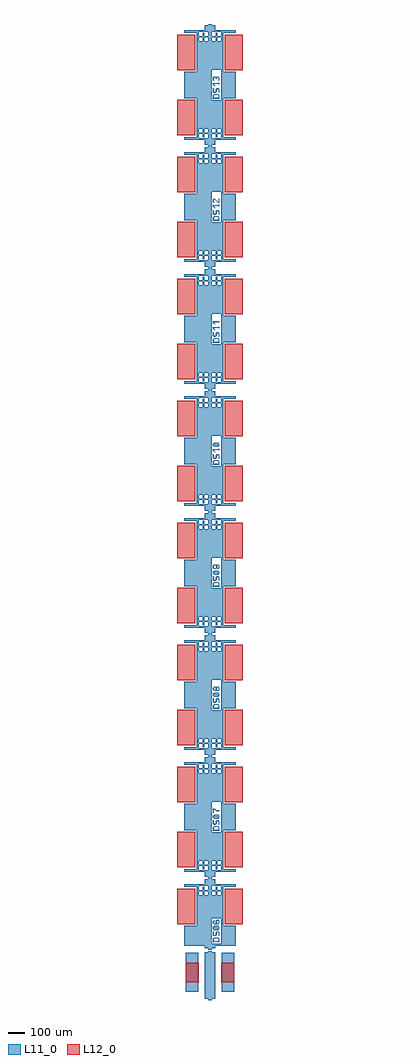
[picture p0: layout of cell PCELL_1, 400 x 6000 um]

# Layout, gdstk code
import gdstk
lib = gdstk.Library(unit=1e-6, precision=5e-09)
def R(c, l, rs):  # rectangles x0, y0, x1, y1
    for r in rs: c.add(gdstk.rectangle(r[:2], r[2:], *l))
def A(c, l, x, y, w, h, nx, ny, dx, dy):  # array of equal rectangles
    R(c, l, [(x+i*dx, y+j*dy, x+i*dx+w, y+j*dy+h) for i in range(nx) for j in range(ny)])
def P(c, l, *ps):  # polygons
    for p in ps: c.add(gdstk.Polygon(p, *l))
L11_0 = (11, 0)
L12_0 = (12, 0)

hyd_2_lpc_14 = lib.new_cell('HYD_2_LPC_14')
A(hyd_2_lpc_14, L11_0, 14419.635, -18083.2, 36.365, 4.4, 1, 7, 0, 750)
R(hyd_2_lpc_14, L11_0, [(14252,-19075,14328,-18835), (14252,-19075,14328,-18835), (14472,-19075,14548,-18835), (14472,-19075,14548,-18835), (14419.635,-18767.2,14456,-18762.8), (14453.8,-17965.725,14458.2,-17958.455), (14453.8,-15744.455,14458.2,-15737.18), (14453.8,-14994.455,14458.2,-14987.18), (14453.8,-14958.455,14458.2,-14951.18), (14453.8,-14244.455,14458.2,-14237.18), (14453.8,-13494.455,14458.2,-13487.18)])
P(hyd_2_lpc_14, L11_0, [(14388.25,-18815),(14388.25,-18807.5),(14367.5,-18807.5),(14367.5,-18792.5),(14242.5,-18792.5),(14242.5,-18670),(14320,-18670),(14320,-18430),(14242.5,-18430),(14242.5,-18412.5),(14331,-18412.5),(14331,-18482),(14389,-18482),(14389,-18424),(14331,-18424),(14331,-18412.5),(14367.5,-18412.5),(14367.5,-18382.5),(14388.25,-18382.5),(14388.25,-18367.5),(14367.5,-18367.5),(14367.5,-18337.5),(14242.5,-18337.5),(14242.5,-18320),(14320,-18320),(14320,-18080),(14242.5,-18080),(14242.5,-17920),(14320,-17920),(14320,-17680),(14242.5,-17680),(14242.5,-17662.5),(14331,-17662.5),(14331,-18326),(14389,-18326),(14389,-18268),(14331,-18268),(14331,-17732),(14389,-17732),(14389,-17674),(14331,-17674),(14331,-17662.5),(14367.5,-17662.5),(14367.5,-17632.5),(14388.25,-17632.5),(14388.25,-17617.5),(14367.5,-17617.5),(14367.5,-17587.5),(14242.5,-17587.5),(14242.5,-17570),(14320,-17570),(14320,-17330),(14242.5,-17330),(14242.5,-17170),(14320,-17170),(14320,-16930),(14242.5,-16930),(14242.5,-16912.5),(14331,-16912.5),(14331,-17576),(14389,-17576),(14389,-17518),(14331,-17518),(14331,-16982),(14389,-16982),(14389,-16924),(14331,-16924),(14331,-16912.5),(14367.5,-16912.5),(14367.5,-16882.5),(14388.25,-16882.5),(14388.25,-16867.5),(14367.5,-16867.5),(14367.5,-16837.5),(14242.5,-16837.5),(14242.5,-16820),(14320,-16820),(14320,-16580),(14242.5,-16580),(14242.5,-16420),(14320,-16420),(14320,-16180),(14242.5,-16180),(14242.5,-16162.5),(14331,-16162.5),(14331,-16826),(14389,-16826),(14389,-16768),(14331,-16768),(14331,-16232),(14389,-16232),(14389,-16174),(14331,-16174),(14331,-16162.5),(14367.5,-16162.5),(14367.5,-16132.5),(14388.25,-16132.5),(14388.25,-16117.5),(14367.5,-16117.5),(14367.5,-16087.5),(14242.5,-16087.5),(14242.5,-16070),(14320,-16070),(14320,-15830),(14242.5,-15830),(14242.5,-15670),(14320,-15670),(14320,-15430),(14242.5,-15430),(14242.5,-15412.5),(14331,-15412.5),(14331,-16076),(14389,-16076),(14389,-16018),(14331,-16018),(14331,-15482),(14389,-15482),(14389,-15424),(14331,-15424),(14331,-15412.5),(14367.5,-15412.5),(14367.5,-15382.5),(14388.25,-15382.5),(14388.25,-15367.5),(14367.5,-15367.5),(14367.5,-15337.5),(14242.5,-15337.5),(14242.5,-15320),(14320,-15320),(14320,-15080),(14242.5,-15080),(14242.5,-14920),(14320,-14920),(14320,-14680),(14242.5,-14680),(14242.5,-14662.5),(14331,-14662.5),(14331,-15326),(14389,-15326),(14389,-15268),(14331,-15268),(14331,-14732),(14389,-14732),(14389,-14674),(14331,-14674),(14331,-14662.5),(14367.5,-14662.5),(14367.5,-14632.5),(14388.25,-14632.5),(14388.25,-14617.5),(14367.5,-14617.5),(14367.5,-14587.5),(14242.5,-14587.5),(14242.5,-14570),(14320,-14570),(14320,-14330),(14242.5,-14330),(14242.5,-14170),(14320,-14170),(14320,-13930),(14242.5,-13930),(14242.5,-13912.5),(14331,-13912.5),(14331,-14576),(14389,-14576),(14389,-14518),(14331,-14518),(14331,-13982),(14389,-13982),(14389,-13924),(14331,-13924),(14331,-13912.5),(14367.5,-13912.5),(14367.5,-13882.5),(14388.25,-13882.5),(14388.25,-13867.5),(14367.5,-13867.5),(14367.5,-13837.5),(14242.5,-13837.5),(14242.5,-13820),(14320,-13820),(14320,-13580),(14242.5,-13580),(14242.5,-13420),(14320,-13420),(14320,-13180),(14242.5,-13180),(14242.5,-13162.5),(14331,-13162.5),(14331,-13826),(14389,-13826),(14389,-13768),(14331,-13768),(14331,-13232),(14389,-13232),(14389,-13174),(14331,-13174),(14331,-13162.5),(14367.5,-13162.5),(14367.5,-13132.5),(14388.25,-13132.5),(14388.25,-13125),(14411,-13125),(14411,-18779),(14469,-18779),(14469,-18623),(14411,-18623),(14411,-18482),(14469,-18482),(14469,-18424),(14411,-18424),(14411,-18326),(14469,-18326),(14469,-18268),(14411,-18268),(14411,-18095),(14469,-18095),(14469,-17905),(14411,-17905),(14411,-17732),(14469,-17732),(14469,-17674),(14411,-17674),(14411,-17576),(14469,-17576),(14469,-17518),(14411,-17518),(14411,-17345),(14469,-17345),(14469,-17155),(14411,-17155),(14411,-16982),(14469,-16982),(14469,-16924),(14411,-16924),(14411,-16826),(14469,-16826),(14469,-16768),(14411,-16768),(14411,-16595),(14469,-16595),(14469,-16405),(14411,-16405),(14411,-16232),(14469,-16232),(14469,-16174),(14411,-16174),(14411,-16076),(14469,-16076),(14469,-16018),(14411,-16018),(14411,-15845),(14469,-15845),(14469,-15655),(14411,-15655),(14411,-15482),(14469,-15482),(14469,-15424),(14411,-15424),(14411,-15326),(14469,-15326),(14469,-15268),(14411,-15268),(14411,-15095),(14469,-15095),(14469,-14905),(14411,-14905),(14411,-14732),(14469,-14732),(14469,-14674),(14411,-14674),(14411,-14576),(14469,-14576),(14469,-14518),(14411,-14518),(14411,-14345),(14469,-14345),(14469,-14155),(14411,-14155),(14411,-13982),(14469,-13982),(14469,-13924),(14411,-13924),(14411,-13826),(14469,-13826),(14469,-13768),(14411,-13768),(14411,-13595),(14469,-13595),(14469,-13405),(14411,-13405),(14411,-13232),(14469,-13232),(14469,-13174),(14411,-13174),(14411,-13125),(14411.75,-13125),(14411.75,-13132.5),(14432.5,-13132.5),(14432.5,-13162.5),(14557.5,-13162.5),(14557.5,-13180),(14480,-13180),(14480,-13420),(14557.5,-13420),(14557.5,-13580),(14480,-13580),(14480,-13820),(14557.5,-13820),(14557.5,-13837.5),(14432.5,-13837.5),(14432.5,-13867.5),(14411.75,-13867.5),(14411.75,-13882.5),(14432.5,-13882.5),(14432.5,-13912.5),(14557.5,-13912.5),(14557.5,-13930),(14480,-13930),(14480,-14170),(14557.5,-14170),(14557.5,-14330),(14480,-14330),(14480,-14570),(14557.5,-14570),(14557.5,-14587.5),(14432.5,-14587.5),(14432.5,-14617.5),(14411.75,-14617.5),(14411.75,-14632.5),(14432.5,-14632.5),(14432.5,-14662.5),(14557.5,-14662.5),(14557.5,-14680),(14480,-14680),(14480,-14920),(14557.5,-14920),(14557.5,-15080),(14480,-15080),(14480,-15320),(14557.5,-15320),(14557.5,-15337.5),(14432.5,-15337.5),(14432.5,-15367.5),(14411.75,-15367.5),(14411.75,-15382.5),(14432.5,-15382.5),(14432.5,-15412.5),(14557.5,-15412.5),(14557.5,-15430),(14480,-15430),(14480,-15670),(14557.5,-15670),(14557.5,-15830),(14480,-15830),(14480,-16070),(14557.5,-16070),(14557.5,-16087.5),(14432.5,-16087.5),(14432.5,-16117.5),(14411.75,-16117.5),(14411.75,-16132.5),(14432.5,-16132.5),(14432.5,-16162.5),(14557.5,-16162.5),(14557.5,-16180),(14480,-16180),(14480,-16420),(14557.5,-16420),(14557.5,-16580),(14480,-16580),(14480,-16820),(14557.5,-16820),(14557.5,-16837.5),(14432.5,-16837.5),(14432.5,-16867.5),(14411.75,-16867.5),(14411.75,-16882.5),(14432.5,-16882.5),(14432.5,-16912.5),(14557.5,-16912.5),(14557.5,-16930),(14480,-16930),(14480,-17170),(14557.5,-17170),(14557.5,-17330),(14480,-17330),(14480,-17570),(14557.5,-17570),(14557.5,-17587.5),(14432.5,-17587.5),(14432.5,-17617.5),(14411.75,-17617.5),(14411.75,-17632.5),(14432.5,-17632.5),(14432.5,-17662.5),(14557.5,-17662.5),(14557.5,-17680),(14480,-17680),(14480,-17920),(14557.5,-17920),(14557.5,-18080),(14480,-18080),(14480,-18320),(14557.5,-18320),(14557.5,-18337.5),(14432.5,-18337.5),(14432.5,-18367.5),(14411.75,-18367.5),(14411.75,-18382.5),(14432.5,-18382.5),(14432.5,-18412.5),(14557.5,-18412.5),(14557.5,-18430),(14480,-18430),(14480,-18670),(14557.5,-18670),(14557.5,-18792.5),(14432.5,-18792.5),(14432.5,-18807.5),(14411.75,-18807.5),(14411.75,-18815)],
  [(14388.25,-18815),(14388.25,-18807.5),(14367.5,-18807.5),(14367.5,-18792.5),(14242.5,-18792.5),(14242.5,-18670),(14320,-18670),(14320,-18430),(14242.5,-18430),(14242.5,-18412.5),(14331,-18412.5),(14331,-18482),(14389,-18482),(14389,-18424),(14331,-18424),(14331,-18412.5),(14367.5,-18412.5),(14367.5,-18382.5),(14388.25,-18382.5),(14388.25,-18367.5),(14367.5,-18367.5),(14367.5,-18337.5),(14242.5,-18337.5),(14242.5,-18320),(14320,-18320),(14320,-18080),(14242.5,-18080),(14242.5,-17920),(14320,-17920),(14320,-17680),(14242.5,-17680),(14242.5,-17662.5),(14331,-17662.5),(14331,-18326),(14389,-18326),(14389,-18268),(14331,-18268),(14331,-17732),(14389,-17732),(14389,-17674),(14331,-17674),(14331,-17662.5),(14367.5,-17662.5),(14367.5,-17632.5),(14388.25,-17632.5),(14388.25,-17617.5),(14367.5,-17617.5),(14367.5,-17587.5),(14242.5,-17587.5),(14242.5,-17570),(14320,-17570),(14320,-17330),(14242.5,-17330),(14242.5,-17170),(14320,-17170),(14320,-16930),(14242.5,-16930),(14242.5,-16912.5),(14331,-16912.5),(14331,-17576),(14389,-17576),(14389,-17518),(14331,-17518),(14331,-16982),(14389,-16982),(14389,-16924),(14331,-16924),(14331,-16912.5),(14367.5,-16912.5),(14367.5,-16882.5),(14388.25,-16882.5),(14388.25,-16867.5),(14367.5,-16867.5),(14367.5,-16837.5),(14242.5,-16837.5),(14242.5,-16820),(14320,-16820),(14320,-16580),(14242.5,-16580),(14242.5,-16420),(14320,-16420),(14320,-16180),(14242.5,-16180),(14242.5,-16162.5),(14331,-16162.5),(14331,-16826),(14389,-16826),(14389,-16768),(14331,-16768),(14331,-16232),(14389,-16232),(14389,-16174),(14331,-16174),(14331,-16162.5),(14367.5,-16162.5),(14367.5,-16132.5),(14388.25,-16132.5),(14388.25,-16117.5),(14367.5,-16117.5),(14367.5,-16087.5),(14242.5,-16087.5),(14242.5,-16070),(14320,-16070),(14320,-15830),(14242.5,-15830),(14242.5,-15670),(14320,-15670),(14320,-15430),(14242.5,-15430),(14242.5,-15412.5),(14331,-15412.5),(14331,-16076),(14389,-16076),(14389,-16018),(14331,-16018),(14331,-15482),(14389,-15482),(14389,-15424),(14331,-15424),(14331,-15412.5),(14367.5,-15412.5),(14367.5,-15382.5),(14388.25,-15382.5),(14388.25,-15367.5),(14367.5,-15367.5),(14367.5,-15337.5),(14242.5,-15337.5),(14242.5,-15320),(14320,-15320),(14320,-15080),(14242.5,-15080),(14242.5,-14920),(14320,-14920),(14320,-14680),(14242.5,-14680),(14242.5,-14662.5),(14331,-14662.5),(14331,-15326),(14389,-15326),(14389,-15268),(14331,-15268),(14331,-14732),(14389,-14732),(14389,-14674),(14331,-14674),(14331,-14662.5),(14367.5,-14662.5),(14367.5,-14632.5),(14388.25,-14632.5),(14388.25,-14617.5),(14367.5,-14617.5),(14367.5,-14587.5),(14242.5,-14587.5),(14242.5,-14570),(14320,-14570),(14320,-14330),(14242.5,-14330),(14242.5,-14170),(14320,-14170),(14320,-13930),(14242.5,-13930),(14242.5,-13912.5),(14331,-13912.5),(14331,-14576),(14389,-14576),(14389,-14518),(14331,-14518),(14331,-13982),(14389,-13982),(14389,-13924),(14331,-13924),(14331,-13912.5),(14367.5,-13912.5),(14367.5,-13882.5),(14388.25,-13882.5),(14388.25,-13867.5),(14367.5,-13867.5),(14367.5,-13837.5),(14242.5,-13837.5),(14242.5,-13820),(14320,-13820),(14320,-13580),(14242.5,-13580),(14242.5,-13420),(14320,-13420),(14320,-13180),(14242.5,-13180),(14242.5,-13162.5),(14331,-13162.5),(14331,-13826),(14389,-13826),(14389,-13768),(14331,-13768),(14331,-13232),(14389,-13232),(14389,-13174),(14331,-13174),(14331,-13162.5),(14367.5,-13162.5),(14367.5,-13132.5),(14388.25,-13132.5),(14388.25,-13125),(14411,-13125),(14411,-18779),(14469,-18779),(14469,-18623),(14411,-18623),(14411,-18482),(14469,-18482),(14469,-18424),(14411,-18424),(14411,-18326),(14469,-18326),(14469,-18268),(14411,-18268),(14411,-18095),(14469,-18095),(14469,-17905),(14411,-17905),(14411,-17732),(14469,-17732),(14469,-17674),(14411,-17674),(14411,-17576),(14469,-17576),(14469,-17518),(14411,-17518),(14411,-17345),(14469,-17345),(14469,-17155),(14411,-17155),(14411,-16982),(14469,-16982),(14469,-16924),(14411,-16924),(14411,-16826),(14469,-16826),(14469,-16768),(14411,-16768),(14411,-16595),(14469,-16595),(14469,-16405),(14411,-16405),(14411,-16232),(14469,-16232),(14469,-16174),(14411,-16174),(14411,-16076),(14469,-16076),(14469,-16018),(14411,-16018),(14411,-15845),(14469,-15845),(14469,-15655),(14411,-15655),(14411,-15482),(14469,-15482),(14469,-15424),(14411,-15424),(14411,-15326),(14469,-15326),(14469,-15268),(14411,-15268),(14411,-15095),(14469,-15095),(14469,-14905),(14411,-14905),(14411,-14732),(14469,-14732),(14469,-14674),(14411,-14674),(14411,-14576),(14469,-14576),(14469,-14518),(14411,-14518),(14411,-14345),(14469,-14345),(14469,-14155),(14411,-14155),(14411,-13982),(14469,-13982),(14469,-13924),(14411,-13924),(14411,-13826),(14469,-13826),(14469,-13768),(14411,-13768),(14411,-13595),(14469,-13595),(14469,-13405),(14411,-13405),(14411,-13232),(14469,-13232),(14469,-13174),(14411,-13174),(14411,-13125),(14411.75,-13125),(14411.75,-13132.5),(14432.5,-13132.5),(14432.5,-13162.5),(14557.5,-13162.5),(14557.5,-13180),(14480,-13180),(14480,-13420),(14557.5,-13420),(14557.5,-13580),(14480,-13580),(14480,-13820),(14557.5,-13820),(14557.5,-13837.5),(14432.5,-13837.5),(14432.5,-13867.5),(14411.75,-13867.5),(14411.75,-13882.5),(14432.5,-13882.5),(14432.5,-13912.5),(14557.5,-13912.5),(14557.5,-13930),(14480,-13930),(14480,-14170),(14557.5,-14170),(14557.5,-14330),(14480,-14330),(14480,-14570),(14557.5,-14570),(14557.5,-14587.5),(14432.5,-14587.5),(14432.5,-14617.5),(14411.75,-14617.5),(14411.75,-14632.5),(14432.5,-14632.5),(14432.5,-14662.5),(14557.5,-14662.5),(14557.5,-14680),(14480,-14680),(14480,-14920),(14557.5,-14920),(14557.5,-15080),(14480,-15080),(14480,-15320),(14557.5,-15320),(14557.5,-15337.5),(14432.5,-15337.5),(14432.5,-15367.5),(14411.75,-15367.5),(14411.75,-15382.5),(14432.5,-15382.5),(14432.5,-15412.5),(14557.5,-15412.5),(14557.5,-15430),(14480,-15430),(14480,-15670),(14557.5,-15670),(14557.5,-15830),(14480,-15830),(14480,-16070),(14557.5,-16070),(14557.5,-16087.5),(14432.5,-16087.5),(14432.5,-16117.5),(14411.75,-16117.5),(14411.75,-16132.5),(14432.5,-16132.5),(14432.5,-16162.5),(14557.5,-16162.5),(14557.5,-16180),(14480,-16180),(14480,-16420),(14557.5,-16420),(14557.5,-16580),(14480,-16580),(14480,-16820),(14557.5,-16820),(14557.5,-16837.5),(14432.5,-16837.5),(14432.5,-16867.5),(14411.75,-16867.5),(14411.75,-16882.5),(14432.5,-16882.5),(14432.5,-16912.5),(14557.5,-16912.5),(14557.5,-16930),(14480,-16930),(14480,-17170),(14557.5,-17170),(14557.5,-17330),(14480,-17330),(14480,-17570),(14557.5,-17570),(14557.5,-17587.5),(14432.5,-17587.5),(14432.5,-17617.5),(14411.75,-17617.5),(14411.75,-17632.5),(14432.5,-17632.5),(14432.5,-17662.5),(14557.5,-17662.5),(14557.5,-17680),(14480,-17680),(14480,-17920),(14557.5,-17920),(14557.5,-18080),(14480,-18080),(14480,-18320),(14557.5,-18320),(14557.5,-18337.5),(14432.5,-18337.5),(14432.5,-18367.5),(14411.75,-18367.5),(14411.75,-18382.5),(14432.5,-18382.5),(14432.5,-18412.5),(14557.5,-18412.5),(14557.5,-18430),(14480,-18430),(14480,-18670),(14557.5,-18670),(14557.5,-18792.5),(14432.5,-18792.5),(14432.5,-18807.5),(14411.75,-18807.5),(14411.75,-18815)],
  [(14436.5,-13978),(14436.5,-13956.5),(14415,-13956.5),(14415,-13949.5),(14436.5,-13949.5),(14436.5,-13928),(14443.5,-13928),(14443.5,-13949.5),(14465,-13949.5),(14465,-13956.5),(14443.5,-13956.5),(14443.5,-13978)],
  [(14417.435,-13584.635),(14417.435,-13565.545),(14426,-13556.98),(14449.64,-13556.98),(14458.2,-13565.545),(14458.2,-13584.635),(14453.8,-13584.635),(14453.8,-13567.365),(14447.815,-13561.38),(14427.82,-13561.38),(14421.835,-13567.365),(14421.835,-13584.635)],
  [(14422.36,-13547.2),(14417.435,-13542.275),(14417.435,-13520.98),(14423.275,-13520.98),(14423.275,-13525.38),(14421.835,-13525.38),(14421.835,-13540.45),(14424.185,-13542.8),(14433.27,-13542.8),(14435.62,-13540.45),(14435.62,-13525.905),(14440.545,-13520.98),(14453.275,-13520.98),(14458.2,-13525.905),(14458.2,-13547.2),(14452.365,-13547.2),(14452.365,-13542.8),(14453.8,-13542.8),(14453.8,-13527.73),(14451.45,-13525.38),(14442.365,-13525.38),(14440.02,-13527.73),(14440.02,-13542.275),(14435.095,-13547.2)],
  [(14427.9,-13506.92),(14417.435,-13496.455),(14417.435,-13488.62),(14456,-13488.62),(14456,-13493.02),(14421.835,-13493.02),(14421.835,-13494.635),(14431.01,-13503.81)],
  [(14421.715,-13474.555),(14417.435,-13470.275),(14417.435,-13453.905),(14422.36,-13448.98),(14435.095,-13448.98),(14440.02,-13453.905),(14440.02,-13462.09),(14435.62,-13462.09),(14435.62,-13455.73),(14433.27,-13453.38),(14424.185,-13453.38),(14421.835,-13455.73),(14421.835,-13468.45),(14424.83,-13471.445)],
  [(14453.92,-13474.555),(14450.81,-13471.445),(14453.8,-13468.45),(14453.8,-13455.73),(14451.45,-13453.38),(14442.365,-13453.38),(14439.375,-13456.375),(14436.265,-13453.265),(14440.545,-13448.98),(14453.275,-13448.98),(14458.2,-13453.905),(14458.2,-13470.275)],
  [(14356.5,-13228),(14356.5,-13206.5),(14335,-13206.5),(14335,-13199.5),(14356.5,-13199.5),(14356.5,-13178),(14363.5,-13178),(14363.5,-13199.5),(14385,-13199.5),(14385,-13206.5),(14363.5,-13206.5),(14363.5,-13228)],
  [(14436.5,-13228),(14436.5,-13206.5),(14415,-13206.5),(14415,-13199.5),(14436.5,-13199.5),(14436.5,-13178),(14443.5,-13178),(14443.5,-13199.5),(14465,-13199.5),(14465,-13206.5),(14443.5,-13206.5),(14443.5,-13228)],
  [(14356.5,-13978),(14356.5,-13956.5),(14335,-13956.5),(14335,-13949.5),(14356.5,-13949.5),(14356.5,-13928),(14363.5,-13928),(14363.5,-13949.5),(14385,-13949.5),(14385,-13956.5),(14363.5,-13956.5),(14363.5,-13978)],
  [(14356.5,-13822),(14356.5,-13800.5),(14335,-13800.5),(14335,-13793.5),(14356.5,-13793.5),(14356.5,-13772),(14363.5,-13772),(14363.5,-13793.5),(14385,-13793.5),(14385,-13800.5),(14363.5,-13800.5),(14363.5,-13822)],
  [(14436.5,-13822),(14436.5,-13800.5),(14415,-13800.5),(14415,-13793.5),(14436.5,-13793.5),(14436.5,-13772),(14443.5,-13772),(14443.5,-13793.5),(14465,-13793.5),(14465,-13800.5),(14443.5,-13800.5),(14443.5,-13822)],
  [(14449.635,-14225.2),(14427.815,-14203.38),(14424.185,-14203.38),(14421.835,-14205.73),(14421.835,-14218.45),(14424.83,-14221.445),(14421.715,-14224.555),(14417.435,-14220.275),(14417.435,-14203.905),(14422.36,-14198.98),(14429.64,-14198.98),(14451.455,-14220.8),(14453.8,-14220.8),(14453.8,-14203.38),(14452.365,-14203.38),(14452.365,-14198.98),(14458.2,-14198.98),(14458.2,-14225.2)],
  [(14417.435,-15084.635),(14417.435,-15065.545),(14426,-15056.98),(14449.64,-15056.98),(14458.2,-15065.545),(14458.2,-15084.635),(14453.8,-15084.635),(14453.8,-15067.365),(14447.815,-15061.38),(14427.82,-15061.38),(14421.835,-15067.365),(14421.835,-15084.635)],
  [(14422.36,-15047.2),(14417.435,-15042.275),(14417.435,-15020.98),(14423.275,-15020.98),(14423.275,-15025.38),(14421.835,-15025.38),(14421.835,-15040.45),(14424.185,-15042.8),(14433.27,-15042.8),(14435.62,-15040.45),(14435.62,-15025.905),(14440.545,-15020.98),(14453.275,-15020.98),(14458.2,-15025.905),(14458.2,-15047.2),(14452.365,-15047.2),(14452.365,-15042.8),(14453.8,-15042.8),(14453.8,-15027.73),(14451.45,-15025.38),(14442.365,-15025.38),(14440.02,-15027.73),(14440.02,-15042.275),(14435.095,-15047.2)],
  [(14427.9,-15006.92),(14417.435,-14996.455),(14417.435,-14988.62),(14456,-14988.62),(14456,-14993.02),(14421.835,-14993.02),(14421.835,-14994.635),(14431.01,-15003.81)],
  [(14427.9,-14970.92),(14417.435,-14960.455),(14417.435,-14952.62),(14456,-14952.62),(14456,-14957.02),(14421.835,-14957.02),(14421.835,-14958.635),(14431.01,-14967.81)],
  [(14356.5,-14728),(14356.5,-14706.5),(14335,-14706.5),(14335,-14699.5),(14356.5,-14699.5),(14356.5,-14678),(14363.5,-14678),(14363.5,-14699.5),(14385,-14699.5),(14385,-14706.5),(14363.5,-14706.5),(14363.5,-14728)],
  [(14436.5,-14728),(14436.5,-14706.5),(14415,-14706.5),(14415,-14699.5),(14436.5,-14699.5),(14436.5,-14678),(14443.5,-14678),(14443.5,-14699.5),(14465,-14699.5),(14465,-14706.5),(14443.5,-14706.5),(14443.5,-14728)],
  [(14356.5,-14572),(14356.5,-14550.5),(14335,-14550.5),(14335,-14543.5),(14356.5,-14543.5),(14356.5,-14522),(14363.5,-14522),(14363.5,-14543.5),(14385,-14543.5),(14385,-14550.5),(14363.5,-14550.5),(14363.5,-14572)],
  [(14436.5,-15322),(14436.5,-15300.5),(14415,-15300.5),(14415,-15293.5),(14436.5,-15293.5),(14436.5,-15272),(14443.5,-15272),(14443.5,-15293.5),(14465,-15293.5),(14465,-15300.5),(14443.5,-15300.5),(14443.5,-15322)],
  [(14436.5,-14572),(14436.5,-14550.5),(14415,-14550.5),(14415,-14543.5),(14436.5,-14543.5),(14436.5,-14522),(14443.5,-14522),(14443.5,-14543.5),(14465,-14543.5),(14465,-14550.5),(14443.5,-14550.5),(14443.5,-14572)],
  [(14356.5,-15322),(14356.5,-15300.5),(14335,-15300.5),(14335,-15293.5),(14356.5,-15293.5),(14356.5,-15272),(14363.5,-15272),(14363.5,-15293.5),(14385,-15293.5),(14385,-15300.5),(14363.5,-15300.5),(14363.5,-15322)],
  [(14417.435,-14334.635),(14417.435,-14315.545),(14426,-14306.98),(14449.64,-14306.98),(14458.2,-14315.545),(14458.2,-14334.635),(14453.8,-14334.635),(14453.8,-14317.365),(14447.815,-14311.38),(14427.82,-14311.38),(14421.835,-14317.365),(14421.835,-14334.635)],
  [(14422.36,-14297.2),(14417.435,-14292.275),(14417.435,-14270.98),(14423.275,-14270.98),(14423.275,-14275.38),(14421.835,-14275.38),(14421.835,-14290.45),(14424.185,-14292.8),(14433.27,-14292.8),(14435.62,-14290.45),(14435.62,-14275.905),(14440.545,-14270.98),(14453.275,-14270.98),(14458.2,-14275.905),(14458.2,-14297.2),(14452.365,-14297.2),(14452.365,-14292.8),(14453.8,-14292.8),(14453.8,-14277.73),(14451.45,-14275.38),(14442.365,-14275.38),(14440.02,-14277.73),(14440.02,-14292.275),(14435.095,-14297.2)],
  [(14427.9,-14256.92),(14417.435,-14246.455),(14417.435,-14238.62),(14456,-14238.62),(14456,-14243.02),(14421.835,-14243.02),(14421.835,-14244.635),(14431.01,-14253.81)],
  [(14426,-16511.2),(14417.435,-16502.64),(14417.435,-16493.545),(14426,-16484.98),(14441.455,-16484.98),(14441.455,-16489.38),(14427.82,-16489.38),(14421.835,-16495.365),(14421.835,-16500.815),(14427.82,-16506.8),(14447.815,-16506.8),(14453.8,-16500.815),(14453.8,-16498.09),(14458.2,-16498.09),(14458.2,-16502.64),(14449.64,-16511.2)],
  [(14437.82,-16511.2),(14437.82,-16506.8),(14447.815,-16506.8),(14453.8,-16500.815),(14453.8,-16495.365),(14447.815,-16489.38),(14437.82,-16489.38),(14437.82,-16484.98),(14449.64,-16484.98),(14458.2,-16493.545),(14458.2,-16502.64),(14449.64,-16511.2)],
  [(14450.81,-16506.92),(14444.18,-16500.29),(14429.635,-16500.29),(14421.715,-16492.375),(14424.83,-16489.265),(14431.455,-16495.89),(14446,-16495.89),(14453.92,-16503.81)],
  [(14356.5,-16072),(14356.5,-16050.5),(14335,-16050.5),(14335,-16043.5),(14356.5,-16043.5),(14356.5,-16022),(14363.5,-16022),(14363.5,-16043.5),(14385,-16043.5),(14385,-16050.5),(14363.5,-16050.5),(14363.5,-16072)],
  [(14422.36,-16475.2),(14417.435,-16470.275),(14417.435,-16462.09),(14421.835,-16462.09),(14421.835,-16468.45),(14424.185,-16470.8),(14436.905,-16470.8),(14439.255,-16468.45),(14439.255,-16451.18),(14443.655,-16451.18),(14443.655,-16470.275),(14438.73,-16475.2)],
  [(14448.725,-16475.2),(14448.725,-16470.8),(14451.45,-16470.8),(14453.8,-16468.45),(14453.8,-16455.73),(14451.45,-16453.38),(14424.185,-16453.38),(14421.835,-16455.73),(14421.835,-16465.725),(14417.435,-16465.725),(14417.435,-16453.905),(14422.36,-16448.98),(14453.275,-16448.98),(14458.2,-16453.905),(14458.2,-16470.275),(14453.275,-16475.2)],
  [(14356.5,-16228),(14356.5,-16206.5),(14335,-16206.5),(14335,-16199.5),(14356.5,-16199.5),(14356.5,-16178),(14363.5,-16178),(14363.5,-16199.5),(14385,-16199.5),(14385,-16206.5),(14363.5,-16206.5),(14363.5,-16228)],
  [(14436.5,-16228),(14436.5,-16206.5),(14415,-16206.5),(14415,-16199.5),(14436.5,-16199.5),(14436.5,-16178),(14443.5,-16178),(14443.5,-16199.5),(14465,-16199.5),(14465,-16206.5),(14443.5,-16206.5),(14443.5,-16228)],
  [(14417.435,-15834.635),(14417.435,-15815.545),(14426,-15806.98),(14449.64,-15806.98),(14458.2,-15815.545),(14458.2,-15834.635),(14453.8,-15834.635),(14453.8,-15817.365),(14447.815,-15811.38),(14427.82,-15811.38),(14421.835,-15817.365),(14421.835,-15834.635)],
  [(14422.36,-15797.2),(14417.435,-15792.275),(14417.435,-15770.98),(14423.275,-15770.98),(14423.275,-15775.38),(14421.835,-15775.38),(14421.835,-15790.45),(14424.185,-15792.8),(14433.27,-15792.8),(14435.62,-15790.45),(14435.62,-15775.905),(14440.545,-15770.98),(14453.275,-15770.98),(14458.2,-15775.905),(14458.2,-15797.2),(14452.365,-15797.2),(14452.365,-15792.8),(14453.8,-15792.8),(14453.8,-15777.73),(14451.45,-15775.38),(14442.365,-15775.38),(14440.02,-15777.73),(14440.02,-15792.275),(14435.095,-15797.2)],
  [(14427.9,-15756.92),(14417.435,-15746.455),(14417.435,-15738.62),(14456,-15738.62),(14456,-15743.02),(14421.835,-15743.02),(14421.835,-15744.635),(14431.01,-15753.81)],
  [(14426,-15725.2),(14417.435,-15716.64),(14417.435,-15707.545),(14426,-15698.98),(14441.455,-15698.98),(14441.455,-15703.38),(14427.82,-15703.38),(14421.835,-15709.365),(14421.835,-15714.815),(14427.82,-15720.8),(14447.815,-15720.8),(14453.8,-15714.815),(14453.8,-15712.09),(14458.2,-15712.09),(14458.2,-15716.64),(14449.64,-15725.2)],
  [(14437.82,-15725.2),(14437.82,-15720.8),(14447.815,-15720.8),(14453.8,-15714.815),(14453.8,-15709.365),(14447.815,-15703.38),(14437.82,-15703.38),(14437.82,-15698.98),(14449.64,-15698.98),(14458.2,-15707.545),(14458.2,-15716.64),(14449.64,-15725.2)],
  [(14450.81,-15720.92),(14444.18,-15714.29),(14429.635,-15714.29),(14421.715,-15706.375),(14424.83,-15703.265),(14431.455,-15709.89),(14446,-15709.89),(14453.92,-15717.81)],
  [(14356.5,-15478),(14356.5,-15456.5),(14335,-15456.5),(14335,-15449.5),(14356.5,-15449.5),(14356.5,-15428),(14363.5,-15428),(14363.5,-15449.5),(14385,-15449.5),(14385,-15456.5),(14363.5,-15456.5),(14363.5,-15478)],
  [(14436.5,-15478),(14436.5,-15456.5),(14415,-15456.5),(14415,-15449.5),(14436.5,-15449.5),(14436.5,-15428),(14443.5,-15428),(14443.5,-15449.5),(14465,-15449.5),(14465,-15456.5),(14443.5,-15456.5),(14443.5,-15478)],
  [(14436.5,-16072),(14436.5,-16050.5),(14415,-16050.5),(14415,-16043.5),(14436.5,-16043.5),(14436.5,-16022),(14443.5,-16022),(14443.5,-16043.5),(14465,-16043.5),(14465,-16050.5),(14443.5,-16050.5),(14443.5,-16072)],
  [(14436.5,-16822),(14436.5,-16800.5),(14415,-16800.5),(14415,-16793.5),(14436.5,-16793.5),(14436.5,-16772),(14443.5,-16772),(14443.5,-16793.5),(14465,-16793.5),(14465,-16800.5),(14443.5,-16800.5),(14443.5,-16822)],
  [(14356.5,-16822),(14356.5,-16800.5),(14335,-16800.5),(14335,-16793.5),(14356.5,-16793.5),(14356.5,-16772),(14363.5,-16772),(14363.5,-16793.5),(14385,-16793.5),(14385,-16800.5),(14363.5,-16800.5),(14363.5,-16822)],
  [(14417.435,-17334.635),(14417.435,-17315.545),(14426,-17306.98),(14449.64,-17306.98),(14458.2,-17315.545),(14458.2,-17334.635),(14453.8,-17334.635),(14453.8,-17317.365),(14447.815,-17311.38),(14427.82,-17311.38),(14421.835,-17317.365),(14421.835,-17334.635)],
  [(14422.36,-17297.2),(14417.435,-17292.275),(14417.435,-17270.98),(14423.275,-17270.98),(14423.275,-17275.38),(14421.835,-17275.38),(14421.835,-17290.45),(14424.185,-17292.8),(14433.27,-17292.8),(14435.62,-17290.45),(14435.62,-17275.905),(14440.545,-17270.98),(14453.275,-17270.98),(14458.2,-17275.905),(14458.2,-17297.2),(14452.365,-17297.2),(14452.365,-17292.8),(14453.8,-17292.8),(14453.8,-17277.73),(14451.45,-17275.38),(14442.365,-17275.38),(14440.02,-17277.73),(14440.02,-17292.275),(14435.095,-17297.2)],
  [(14426,-17261.2),(14417.435,-17252.64),(14417.435,-17243.545),(14426,-17234.98),(14441.455,-17234.98),(14441.455,-17239.38),(14427.82,-17239.38),(14421.835,-17245.365),(14421.835,-17250.815),(14427.82,-17256.8),(14447.815,-17256.8),(14453.8,-17250.815),(14453.8,-17248.09),(14458.2,-17248.09),(14458.2,-17252.64),(14449.64,-17261.2)],
  [(14437.82,-17261.2),(14437.82,-17256.8),(14447.815,-17256.8),(14453.8,-17250.815),(14453.8,-17245.365),(14447.815,-17239.38),(14437.82,-17239.38),(14437.82,-17234.98),(14449.64,-17234.98),(14458.2,-17243.545),(14458.2,-17252.64),(14449.64,-17261.2)],
  [(14450.81,-17256.92),(14444.18,-17250.29),(14429.635,-17250.29),(14421.715,-17242.375),(14424.83,-17239.265),(14431.455,-17245.89),(14446,-17245.89),(14453.92,-17253.81)],
  [(14426,-17225.2),(14417.435,-17216.64),(14417.435,-17207.545),(14426,-17198.98),(14435.095,-17198.98),(14440.02,-17203.905),(14440.02,-17215.725),(14435.62,-17215.725),(14435.62,-17205.73),(14433.27,-17203.38),(14427.82,-17203.38),(14421.835,-17209.365),(14421.835,-17214.815),(14427.82,-17220.8),(14433.27,-17220.8),(14436.265,-17217.81),(14439.375,-17220.92),(14435.095,-17225.2)],
  [(14440.545,-17225.2),(14435.62,-17220.275),(14435.62,-17208.455),(14440.02,-17208.455),(14440.02,-17218.45),(14442.365,-17220.8),(14451.45,-17220.8),(14453.8,-17218.45),(14453.8,-17212.09),(14458.2,-17212.09),(14458.2,-17220.275),(14453.275,-17225.2)],
  [(14453.8,-17215.725),(14453.8,-17205.73),(14451.45,-17203.38),(14442.365,-17203.38),(14439.375,-17206.375),(14436.265,-17203.265),(14440.545,-17198.98),(14453.275,-17198.98),(14458.2,-17203.905),(14458.2,-17215.725)],
  [(14356.5,-16978),(14356.5,-16956.5),(14335,-16956.5),(14335,-16949.5),(14356.5,-16949.5),(14356.5,-16928),(14363.5,-16928),(14363.5,-16949.5),(14385,-16949.5),(14385,-16956.5),(14363.5,-16956.5),(14363.5,-16978)],
  [(14436.5,-16978),(14436.5,-16956.5),(14415,-16956.5),(14415,-16949.5),(14436.5,-16949.5),(14436.5,-16928),(14443.5,-16928),(14443.5,-16949.5),(14465,-16949.5),(14465,-16956.5),(14443.5,-16956.5),(14443.5,-16978)],
  [(14436.5,-17572),(14436.5,-17550.5),(14415,-17550.5),(14415,-17543.5),(14436.5,-17543.5),(14436.5,-17522),(14443.5,-17522),(14443.5,-17543.5),(14465,-17543.5),(14465,-17550.5),(14443.5,-17550.5),(14443.5,-17572)],
  [(14356.5,-17572),(14356.5,-17550.5),(14335,-17550.5),(14335,-17543.5),(14356.5,-17543.5),(14356.5,-17522),(14363.5,-17522),(14363.5,-17543.5),(14385,-17543.5),(14385,-17550.5),(14363.5,-17550.5),(14363.5,-17572)],
  [(14422.36,-16547.2),(14417.435,-16542.275),(14417.435,-16520.98),(14423.275,-16520.98),(14423.275,-16525.38),(14421.835,-16525.38),(14421.835,-16540.45),(14424.185,-16542.8),(14433.27,-16542.8),(14435.62,-16540.45),(14435.62,-16525.905),(14440.545,-16520.98),(14453.275,-16520.98),(14458.2,-16525.905),(14458.2,-16547.2),(14452.365,-16547.2),(14452.365,-16542.8),(14453.8,-16542.8),(14453.8,-16527.73),(14451.45,-16525.38),(14442.365,-16525.38),(14440.02,-16527.73),(14440.02,-16542.275),(14435.095,-16547.2)],
  [(14417.435,-16584.635),(14417.435,-16565.545),(14426,-16556.98),(14449.64,-16556.98),(14458.2,-16565.545),(14458.2,-16584.635),(14453.8,-16584.635),(14453.8,-16567.365),(14447.815,-16561.38),(14427.82,-16561.38),(14421.835,-16567.365),(14421.835,-16584.635)],
  [(14436.5,-18322),(14436.5,-18300.5),(14415,-18300.5),(14415,-18293.5),(14436.5,-18293.5),(14436.5,-18272),(14443.5,-18272),(14443.5,-18293.5),(14465,-18293.5),(14465,-18300.5),(14443.5,-18300.5),(14443.5,-18322)],
  [(14356.5,-18322),(14356.5,-18300.5),(14335,-18300.5),(14335,-18293.5),(14356.5,-18293.5),(14356.5,-18272),(14363.5,-18272),(14363.5,-18293.5),(14385,-18293.5),(14385,-18300.5),(14363.5,-18300.5),(14363.5,-18322)],
  [(14437.82,-18011.2),(14437.82,-18006.8),(14447.815,-18006.8),(14453.8,-18000.815),(14453.8,-17995.365),(14447.815,-17989.38),(14437.82,-17989.38),(14437.82,-17984.98),(14449.64,-17984.98),(14458.2,-17993.545),(14458.2,-18002.64),(14449.64,-18011.2)],
  [(14356.5,-17728),(14356.5,-17706.5),(14335,-17706.5),(14335,-17699.5),(14356.5,-17699.5),(14356.5,-17678),(14363.5,-17678),(14363.5,-17699.5),(14385,-17699.5),(14385,-17706.5),(14363.5,-17706.5),(14363.5,-17728)],
  [(14436.5,-17728),(14436.5,-17706.5),(14415,-17706.5),(14415,-17699.5),(14436.5,-17699.5),(14436.5,-17678),(14443.5,-17678),(14443.5,-17699.5),(14465,-17699.5),(14465,-17706.5),(14443.5,-17706.5),(14443.5,-17728)],
  [(14388.25,-19125),(14388.25,-19117.5),(14367.5,-19117.5),(14367.5,-18832.5),(14388.25,-18832.5),(14388.25,-18825),(14411.75,-18825),(14411.75,-18832.5),(14432.5,-18832.5),(14432.5,-19117.5),(14411.75,-19117.5),(14411.75,-19125)],
  [(14356.5,-18478),(14356.5,-18456.5),(14335,-18456.5),(14335,-18449.5),(14356.5,-18449.5),(14356.5,-18428),(14363.5,-18428),(14363.5,-18449.5),(14385,-18449.5),(14385,-18456.5),(14363.5,-18456.5),(14363.5,-18478)],
  [(14436.5,-18478),(14436.5,-18456.5),(14415,-18456.5),(14415,-18449.5),(14436.5,-18449.5),(14436.5,-18428),(14443.5,-18428),(14443.5,-18449.5),(14465,-18449.5),(14465,-18456.5),(14443.5,-18456.5),(14443.5,-18478)],
  [(14417.435,-18084.635),(14417.435,-18065.545),(14426,-18056.98),(14449.64,-18056.98),(14458.2,-18065.545),(14458.2,-18084.635),(14453.8,-18084.635),(14453.8,-18067.365),(14447.815,-18061.38),(14427.82,-18061.38),(14421.835,-18067.365),(14421.835,-18084.635)],
  [(14417.435,-18768.635),(14417.435,-18749.545),(14426,-18740.98),(14449.64,-18740.98),(14458.2,-18749.545),(14458.2,-18768.635),(14453.8,-18768.635),(14453.8,-18751.365),(14447.815,-18745.38),(14427.82,-18745.38),(14421.835,-18751.365),(14421.835,-18768.635)],
  [(14422.36,-18731.2),(14417.435,-18726.275),(14417.435,-18704.98),(14423.275,-18704.98),(14423.275,-18709.38),(14421.835,-18709.38),(14421.835,-18724.45),(14424.185,-18726.8),(14433.27,-18726.8),(14435.62,-18724.45),(14435.62,-18709.905),(14440.545,-18704.98),(14453.275,-18704.98),(14458.2,-18709.905),(14458.2,-18731.2),(14452.365,-18731.2),(14452.365,-18726.8),(14453.8,-18726.8),(14453.8,-18711.73),(14451.45,-18709.38),(14442.365,-18709.38),(14440.02,-18711.73),(14440.02,-18726.275),(14435.095,-18731.2)],
  [(14426,-18695.2),(14417.435,-18686.64),(14417.435,-18677.545),(14426,-18668.98),(14441.455,-18668.98),(14441.455,-18673.38),(14427.82,-18673.38),(14421.835,-18679.365),(14421.835,-18684.815),(14427.82,-18690.8),(14447.815,-18690.8),(14453.8,-18684.815),(14453.8,-18682.09),(14458.2,-18682.09),(14458.2,-18686.64),(14449.64,-18695.2)],
  [(14437.82,-18695.2),(14437.82,-18690.8),(14447.815,-18690.8),(14453.8,-18684.815),(14453.8,-18679.365),(14447.815,-18673.38),(14437.82,-18673.38),(14437.82,-18668.98),(14449.64,-18668.98),(14458.2,-18677.545),(14458.2,-18686.64),(14449.64,-18695.2)],
  [(14450.81,-18690.92),(14444.18,-18684.29),(14429.635,-18684.29),(14421.715,-18676.375),(14424.83,-18673.265),(14431.455,-18679.89),(14446,-18679.89),(14453.92,-18687.81)],
  [(14388.25,-19125),(14388.25,-19117.5),(14367.5,-19117.5),(14367.5,-18832.5),(14388.25,-18832.5),(14388.25,-18825),(14411.75,-18825),(14411.75,-18832.5),(14432.5,-18832.5),(14432.5,-19117.5),(14411.75,-19117.5),(14411.75,-19125)],
  [(14450.81,-18006.92),(14444.18,-18000.29),(14429.635,-18000.29),(14421.715,-17992.375),(14424.83,-17989.265),(14431.455,-17995.89),(14446,-17995.89),(14453.92,-18003.81)],
  [(14417.435,-17975.2),(14417.435,-17948.98),(14427.82,-17948.98),(14438.73,-17959.89),(14456,-17959.89),(14456,-17964.29),(14436.905,-17964.29),(14426,-17953.38),(14421.835,-17953.38),(14421.835,-17970.8),(14423.275,-17970.8),(14423.275,-17975.2)],
  [(14422.36,-18047.2),(14417.435,-18042.275),(14417.435,-18020.98),(14423.275,-18020.98),(14423.275,-18025.38),(14421.835,-18025.38),(14421.835,-18040.45),(14424.185,-18042.8),(14433.27,-18042.8),(14435.62,-18040.45),(14435.62,-18025.905),(14440.545,-18020.98),(14453.275,-18020.98),(14458.2,-18025.905),(14458.2,-18047.2),(14452.365,-18047.2),(14452.365,-18042.8),(14453.8,-18042.8),(14453.8,-18027.73),(14451.45,-18025.38),(14442.365,-18025.38),(14440.02,-18027.73),(14440.02,-18042.275),(14435.095,-18047.2)],
  [(14426,-18011.2),(14417.435,-18002.64),(14417.435,-17993.545),(14426,-17984.98),(14441.455,-17984.98),(14441.455,-17989.38),(14427.82,-17989.38),(14421.835,-17995.365),(14421.835,-18000.815),(14427.82,-18006.8),(14447.815,-18006.8),(14453.8,-18000.815),(14453.8,-17998.09),(14458.2,-17998.09),(14458.2,-18002.64),(14449.64,-18011.2)],
  [(14435.62,-18657),(14435.62,-18637.905),(14440.545,-18632.98),(14453.275,-18632.98),(14458.2,-18637.905),(14458.2,-18649.725),(14453.8,-18649.725),(14453.8,-18639.73),(14451.45,-18637.38),(14442.365,-18637.38),(14440.02,-18639.73),(14440.02,-18657)],
  [(14426,-18659.2),(14417.435,-18650.64),(14417.435,-18641.545),(14425.355,-18633.625),(14428.465,-18636.735),(14421.835,-18643.365),(14421.835,-18648.815),(14427.82,-18654.8),(14451.45,-18654.8),(14453.8,-18652.45),(14453.8,-18646.09),(14458.2,-18646.09),(14458.2,-18654.275),(14453.275,-18659.2)])

hyd_2_epc_10 = lib.new_cell('HYD_2_EPC_10')
R(hyd_2_epc_10, L12_0, [(14250,-19015,14330,-18895), (14250,-19015,14330,-18895), (14470,-19015,14550,-18895), (14470,-19015,14550,-18895), (14200,-18660,14310,-18440), (14490,-18660,14600,-18440), (14490,-18660,14600,-18440), (14200,-18310,14310,-18090), (14490,-18310,14600,-18090), (14490,-18310,14600,-18090), (14200,-17910,14310,-17690), (14490,-17910,14600,-17690), (14490,-17910,14600,-17690), (14200,-17560,14310,-17340), (14490,-17560,14600,-17340), (14490,-17560,14600,-17340), (14200,-17160,14310,-16940), (14490,-17160,14600,-16940), (14490,-17160,14600,-16940), (14200,-16810,14310,-16590), (14490,-16810,14600,-16590), (14490,-16810,14600,-16590), (14200,-16410,14310,-16190), (14490,-16410,14600,-16190), (14490,-16410,14600,-16190), (14200,-16060,14310,-15840), (14490,-16060,14600,-15840), (14490,-16060,14600,-15840), (14200,-15660,14310,-15440), (14490,-15660,14600,-15440), (14490,-15660,14600,-15440), (14200,-15310,14310,-15090), (14490,-15310,14600,-15090), (14490,-15310,14600,-15090), (14200,-14910,14310,-14690), (14490,-14910,14600,-14690), (14490,-14910,14600,-14690), (14200,-14560,14310,-14340), (14490,-14560,14600,-14340), (14490,-14560,14600,-14340), (14200,-14160,14310,-13940), (14490,-14160,14600,-13940), (14490,-14160,14600,-13940), (14200,-13810,14310,-13590), (14490,-13810,14600,-13590), (14490,-13810,14600,-13590), (14200,-13410,14310,-13190), (14490,-13410,14600,-13190), (14490,-13410,14600,-13190)])

pcell_1 = lib.new_cell('PCELL_1')
pcell_1.add(gdstk.Reference(hyd_2_lpc_14, (0,0)))
pcell_1.add(gdstk.Reference(hyd_2_epc_10, (0,0)))

lib.write_gds('PCELL_1.gds')
